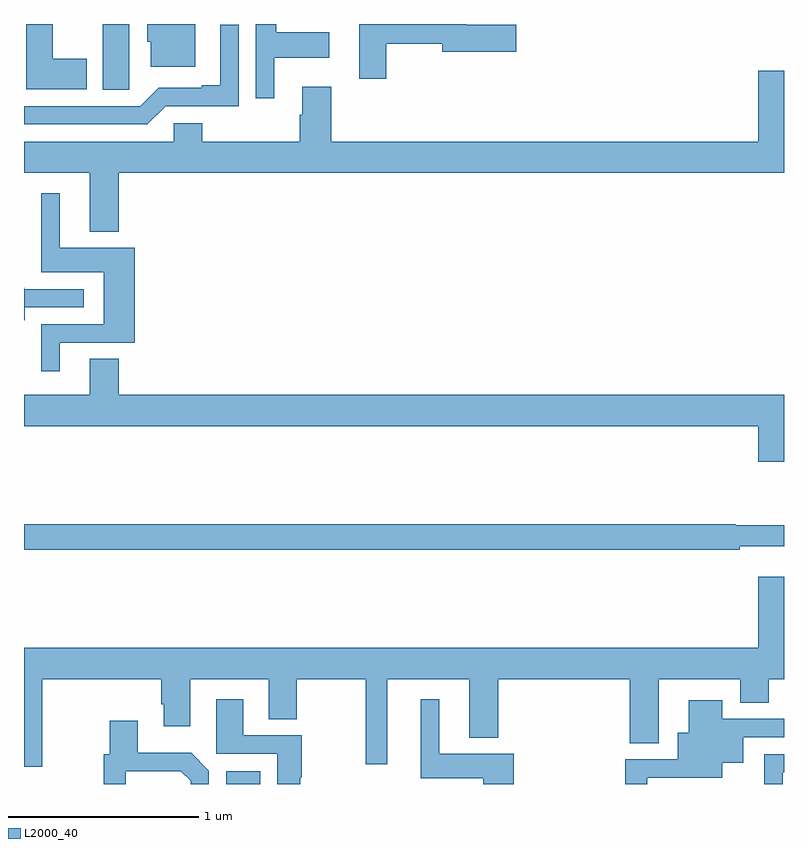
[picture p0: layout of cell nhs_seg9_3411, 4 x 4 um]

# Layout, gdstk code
import gdstk
lib = gdstk.Library(unit=1e-6, precision=1e-09)
def R(c, l, rs):  # rectangles x0, y0, x1, y1
    for r in rs: c.add(gdstk.rectangle(r[:2], r[2:], *l))
def P(c, l, *ps):  # polygons
    for p in ps: c.add(gdstk.Polygon(p, *l))
L2000_40 = (2000, 40)

nhs_seg9_3411 = lib.new_cell('nhs_seg9_3411')
R(nhs_seg9_3411, L2000_40, [(306.065,1230.5,306.244,1230.568)])
P(nhs_seg9_3411, L2000_40, [(305.553,1234.264),(305.554,1234.264),(305.554,1234.5),(305.414,1234.5),(305.414,1234.153),(305.553,1234.153)],
  [(305.329,1234.317),(305.152,1234.317),(305.152,1234.5),(305.012,1234.5),(305.012,1234.157),(305.329,1234.157)],
  [(306.316,1234.322),(306.607,1234.322),(306.607,1234.457),(306.328,1234.457),(306.328,1234.5),(306.219,1234.5),(306.219,1234.11),(306.316,1234.11)],
  [(305.902,1234.5),(305.648,1234.5),(305.648,1234.407),(305.666,1234.407),(305.666,1234.274),(305.902,1234.274)],
  [(306.906,1234.396),(307.202,1234.396),(307.202,1234.354),(307.591,1234.354),(307.591,1234.496),(307.33,1234.496),(307.33,1234.5),(306.764,1234.5),(306.764,1234.212),(306.906,1234.212)],
  [(305.745,1234.068),(306.129,1234.068),(306.129,1234.495),(306.032,1234.495),(306.032,1234.177),(305.936,1234.177),(305.936,1234.164),(305.709,1234.164),(305.613,1234.068),(305,1234.068),(305,1233.972),(305.649,1233.972)],
  [(305.498,1233.716),(309,1233.716),(309,1234.255),(308.864,1234.255),(308.864,1233.88),(306.617,1233.88),(306.617,1234.171),(306.464,1234.171),(306.464,1234.022),(306.452,1234.022),(306.452,1233.88),(305.939,1233.88),(305.939,1233.978),(305.787,1233.978),(305.787,1233.88),(305,1233.88),(305,1233.716),(305.345,1233.716),(305.345,1233.407),(305.498,1233.407)],
  [(305.188,1232.823),(305.584,1232.823),(305.584,1233.322),(305.188,1233.322),(305.188,1233.61),(305.09,1233.61),(305.09,1233.194),(305.42,1233.194),(305.42,1232.919),(305.09,1232.919),(305.09,1232.673),(305.188,1232.673)],
  [(305.005,1233.009),(305.314,1233.009),(305.314,1233.105),(305.001,1233.105),(305.001,1233.113),(305,1233.113),(305,1232.942),(305.005,1232.942)],
  [(309,1232.548),(305.498,1232.548),(305.498,1232.738),(305.345,1232.738),(305.345,1232.548),(305,1232.548),(305,1232.384),(308.864,1232.384),(308.864,1232.196),(309,1232.196)],
  [(308.768,1231.751),(309,1231.751),(309,1231.861),(308.746,1231.861),(308.746,1231.868),(305,1231.868),(305,1231.732),(308.768,1231.732)],
  [(305.097,1231.052),(305.723,1231.052),(305.723,1230.919),(305.735,1230.919),(305.735,1230.804),(305.875,1230.804),(305.875,1231.052),(306.287,1231.052),(306.287,1230.841),(306.435,1230.841),(306.435,1231.052),(306.799,1231.052),(306.799,1230.603),(306.913,1230.603),(306.913,1231.052),(307.343,1231.052),(307.343,1230.743),(307.496,1230.743),(307.496,1231.052),(308.189,1231.052),(308.189,1230.715),(308.341,1230.715),(308.341,1231.052),(308.771,1231.052),(308.771,1230.928),(308.919,1230.928),(308.919,1231.052),(309,1231.052),(309,1231.591),(308.864,1231.591),(308.864,1231.216),(305,1231.216),(305,1230.591),(305.097,1230.591)],
  [(307.577,1230.658),(307.186,1230.658),(307.186,1230.946),(307.088,1230.946),(307.088,1230.53),(307.418,1230.53),(307.418,1230.5),(307.577,1230.5)],
  [(306.454,1230.535),(306.462,1230.535),(306.462,1230.756),(306.154,1230.756),(306.154,1230.946),(306.011,1230.946),(306.011,1230.66),(306.332,1230.66),(306.332,1230.5),(306.454,1230.5)],
  [(308.28,1230.534),(308.674,1230.534),(308.674,1230.611),(308.785,1230.611),(308.785,1230.747),(309,1230.747),(309,1230.843),(308.674,1230.843),(308.674,1230.94),(308.498,1230.94),(308.498,1230.769),(308.441,1230.769),(308.441,1230.63),(308.164,1230.63),(308.164,1230.5),(308.28,1230.5)],
  [(305.535,1230.567),(305.826,1230.567),(305.877,1230.516),(305.877,1230.5),(305.973,1230.5),(305.973,1230.57),(305.879,1230.664),(305.599,1230.664),(305.599,1230.832),(305.452,1230.832),(305.452,1230.657),(305.419,1230.657),(305.419,1230.5),(305.535,1230.5)],
  [(308.994,1230.561),(309,1230.561),(309,1230.657),(308.897,1230.657),(308.897,1230.5),(308.994,1230.5)])

lib.write_gds('nhs_seg9_3411.gds')
